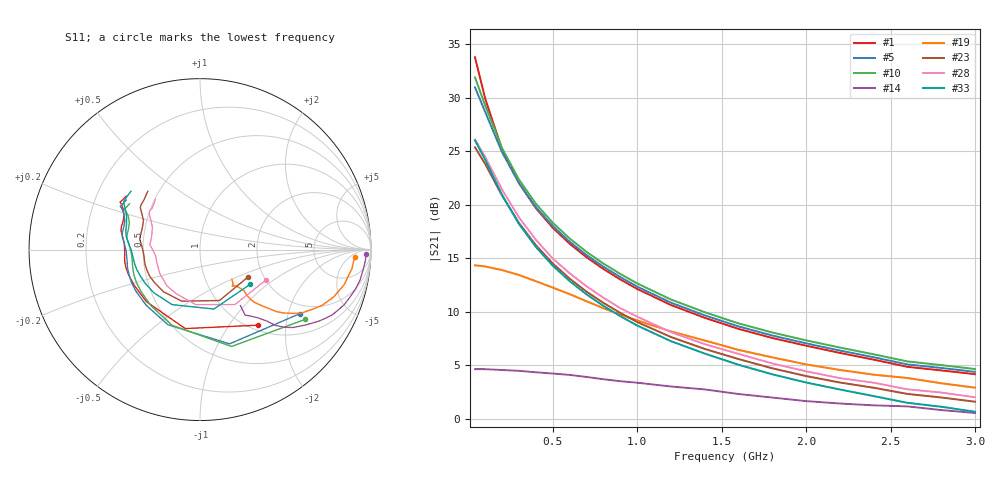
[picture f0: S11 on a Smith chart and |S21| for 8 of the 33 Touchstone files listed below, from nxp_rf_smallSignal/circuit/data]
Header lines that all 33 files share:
#  MHz  S  MA  R  50
! Freq  S11  S21  S12  S22  !GUM [dB]
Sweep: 40 MHz to 3 GHz
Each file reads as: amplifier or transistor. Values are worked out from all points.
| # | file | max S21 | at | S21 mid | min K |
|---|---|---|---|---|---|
| 1 | BFS540_4V_50mA.s2p | 33.8 dB | 40 MHz | 12.1 dB at 1 GHz | 0.34 |
| 2 | BFS540_8V_4mA.s2p | 20.1 dB | 40 MHz | 9.7 dB at 1 GHz | 0.08 |
| 3 | BFS540_8V_50mA.s2p | 32.8 dB | 40 MHz | 12.3 dB at 1 GHz | 0.31 |
| 4 | BFS540_S_NF_4V_10mA.s2p | 26.9 dB | 40 MHz | 11.6 dB at 1 GHz | 0.15 |
| 5 | BFS540_S_NF_4V_20mA.s2p | 31.0 dB | 40 MHz | 12.4 dB at 1 GHz | 0.23 |
| 6 | BFS540_S_NF_4V_30mA.s2p | 32.6 dB | 40 MHz | 12.5 dB at 1 GHz | 0.27 |
| 7 | BFS540_S_NF_4V_40mA.s2p | 33.5 dB | 40 MHz | 12.4 dB at 1 GHz | 0.32 |
| 8 | BFS540_S_NF_8V_10mA.s2p | 26.6 dB | 40 MHz | 11.8 dB at 1 GHz | 0.14 |
| 9 | BFS540_S_NF_8V_20mA.s2p | 30.4 dB | 40 MHz | 12.5 dB at 1 GHz | 0.20 |
| 10 | BFS540_S_NF_8V_30mA.s2p | 31.9 dB | 40 MHz | 12.7 dB at 1 GHz | 0.25 |
| 11 | BFS540_S_NF_8V_40mA.s2p | 32.6 dB | 40 MHz | 12.5 dB at 1 GHz | 0.28 |
| 12 | BFT25_1V_0_5mA.s2p | 4.7 dB | 40 MHz | 2.9 dB at 1 GHz | 0.08 |
| 13 | BFT25_1V_1mA.s2p | 10.0 dB | 40 MHz | 6.0 dB at 1 GHz | 0.12 |
| 14 | BFT25A_1V_0.5mA.s2p | 4.6 dB | 40 MHz | 3.4 dB at 1 GHz | 0.09 |
| 15 | BFT25A_1V_1mA.s2p | 9.8 dB | 40 MHz | 6.6 dB at 1 GHz | 0.08 |
| 16 | BFT25A_1V_2mA.s2p | 14.0 dB | 40 MHz | 7.8 dB at 1 GHz | 0.15 |
| 17 | BFT25A_3V_0_5mA.s2p | 4.6 dB | 40 MHz | 3.5 dB at 1 GHz | 0.07 |
| 18 | BFT25A_3V_1mA.s2p | 9.8 dB | 40 MHz | 7.0 dB at 1 GHz | 0.11 |
| 19 | BFT25A_3V_2mA.s2p | 14.3 dB | 40 MHz | 9.2 dB at 1 GHz | 0.10 |
| 20 | BFT92_5V_2mA.s2p | 14.0 dB | 40 MHz | 7.1 dB at 1 GHz | 0.10 |
| 21 | BFT92_5V_5mA.s2p | 20.4 dB | 40 MHz | 8.9 dB at 1 GHz | 0.17 |
| 22 | BFT92_5V_10mA.s2p | 23.9 dB | 40 MHz | 9.2 dB at 1 GHz | 0.27 |
| 23 | BFT92_5V_15mA.s2p | 25.4 dB | 40 MHz | 9.0 dB at 1 GHz | 0.36 |
| 24 | BFT92_5V_20mA.s2p | 25.1 dB | 40 MHz | 8.1 dB at 1 GHz | 0.54 |
| 25 | BFT92_10V_2mA.s2p | 13.8 dB | 40 MHz | 7.4 dB at 1 GHz | 0.09 |
| 26 | BFT92_10V_5mA.s2p | 24.1 dB | 40 MHz | 10.0 dB at 1 GHz | 0.23 |
| 27 | BFT92_10V_15mA.s2p | 25.9 dB | 40 MHz | 10.0 dB at 1 GHz | 0.30 |
| 28 | BFT92_10V_20mA.s2p | 26.1 dB | 40 MHz | 9.5 dB at 1 GHz | 0.35 |
| 29 | BFT92W_S_NF_5V_2mA.s2p | 14.1 dB | 40 MHz | 7.0 dB at 1 GHz | 0.10 |
| 30 | BFT92W_S_NF_5V_5mA.s2p | 20.6 dB | 40 MHz | 9.0 dB at 1 GHz | 0.17 |
| 31 | BFT92W_S_NF_5V_10mA.s2p | 24.2 dB | 40 MHz | 9.5 dB at 1 GHz | 0.26 |
| 32 | BFT92W_S_NF_5V_15mA.s2p | 25.6 dB | 40 MHz | 9.3 dB at 1 GHz | 0.35 |
| 33 | BFT92W_S_NF_5V_20mA.s2p | 26.0 dB | 40 MHz | 8.7 dB at 1 GHz | 0.43 |
